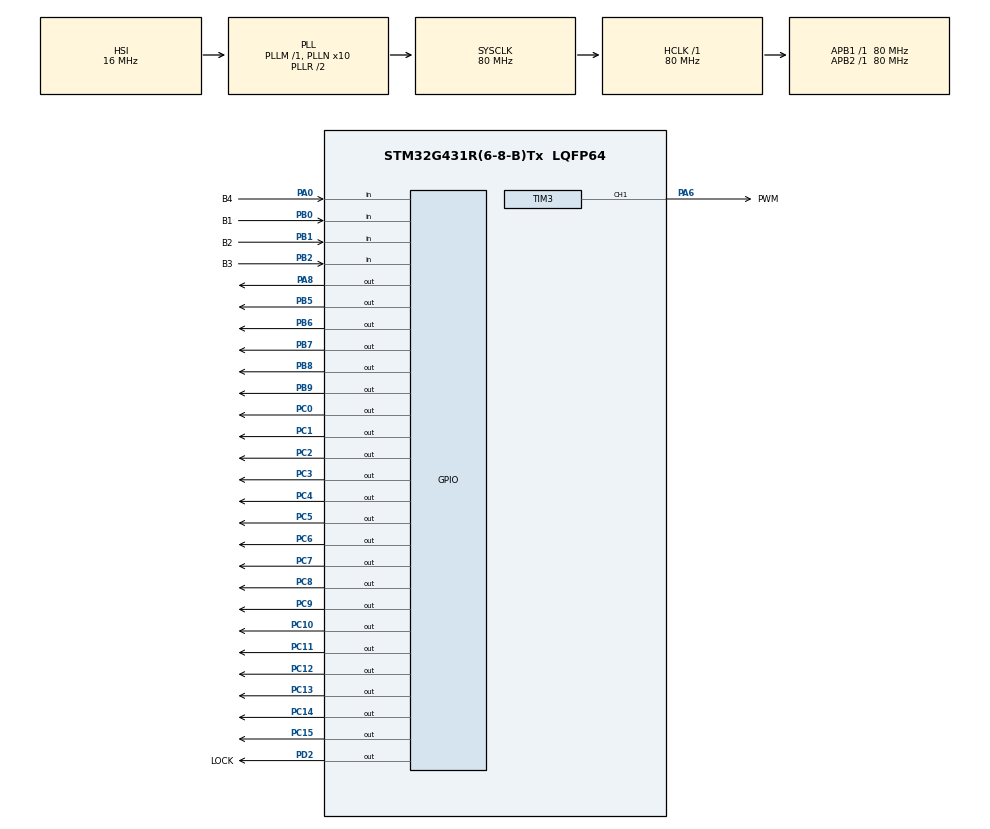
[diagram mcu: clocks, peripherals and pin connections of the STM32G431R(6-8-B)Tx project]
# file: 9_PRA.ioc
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Mcu.Family=STM32G4
Mcu.Name=STM32G431R(6-8-B)Tx
Mcu.Package=LQFP64
NVIC.PriorityGroup=NVIC_PRIORITYGROUP_4
NVIC.TIM1_UP_TIM16_IRQn=true\:0\:0\:false\:false\:true\:true\:true
PA0.GPIO_Label=B4
PA0.Signal=GPIO_Input
PA13.Mode=Serial_Wire
PA13.Signal=SYS_JTMS-SWDIO
PA14.Mode=Serial_Wire
PA14.Signal=SYS_JTCK-SWCLK
PA6.GPIO_Label=PWM
PA6.Signal=S_TIM3_CH1
PA8.Signal=GPIO_Output
PB0.GPIO_Label=B1
PB0.Signal=GPIO_Input
PB1.GPIO_Label=B2
PB1.Signal=GPIO_Input
PB2.GPIO_Label=B3
PB2.Signal=GPIO_Input
PB5.Signal=GPIO_Output
PB6.Signal=GPIO_Output
PB7.Signal=GPIO_Output
PB8-BOOT0.Signal=GPIO_Output
PB9.Signal=GPIO_Output
PC0.Signal=GPIO_Output
PC1.Signal=GPIO_Output
PC10.Signal=GPIO_Output
PC11.Signal=GPIO_Output
PC12.Signal=GPIO_Output
PC13.Signal=GPIO_Output
PC14-OSC32_IN.Signal=GPIO_Output
PC15-OSC32_OUT.Signal=GPIO_Output
PC2.Signal=GPIO_Output
PC3.Signal=GPIO_Output
PC4.Signal=GPIO_Output
PC5.Signal=GPIO_Output
PC6.Signal=GPIO_Output
PC7.Signal=GPIO_Output
PC8.Signal=GPIO_Output
PC9.Signal=GPIO_Output
PD2.GPIO_Label=LOCK
PD2.Signal=GPIO_Output
PF0-OSC_IN.Mode=HSE-External-Oscillator
PF0-OSC_IN.Signal=RCC_OSC_IN
PF1-OSC_OUT.Mode=HSE-External-Oscillator
PF1-OSC_OUT.Signal=RCC_OSC_OUT
ProjectManager.HeapSize=0x200
ProjectManager.StackSize=0x400
ProjectManager.TargetToolchain=MDK-ARM V5.27
RCC.ADC12Freq_Value=80000000
RCC.AHBFreq_Value=80000000
RCC.APB1Freq_Value=80000000
RCC.APB1TimFreq_Value=80000000
RCC.APB2Freq_Value=80000000
RCC.APB2TimFreq_Value=80000000
RCC.CortexFreq_Value=80000000
RCC.EXTERNAL_CLOCK_VALUE=12288000
RCC.HCLKFreq_Value=80000000
RCC.HSE_VALUE=8000000
RCC.HSI48_VALUE=48000000
RCC.HSI_VALUE=16000000
RCC.LSE_VALUE=32768
RCC.PLLN=10
RCC.SYSCLKFreq_VALUE=80000000
RCC.SYSCLKSource=RCC_SYSCLKSOURCE_PLLCLK
RCC.USBFreq_Value=80000000
RCC.VCOOutputFreq_Value=160000000
SH.S_TIM3_CH1.0=TIM3_CH1,PWM Generation1 CH1
TIM1.PeriodNoDither=999
TIM1.Prescaler=79
TIM3.Channel-PWM\ Generation1\ CH1=TIM_CHANNEL_1
TIM3.PeriodNoDither=1000-1
TIM3.Prescaler=80-1
VP_SYS_VS_DBSignals.Mode=DisableDeadBatterySignals
VP_TIM1_VS_ClockSourceINT.Mode=Internal
board=custom

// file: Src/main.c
/* USER CODE BEGIN Header */
/**
  ******************************************************************************
  * @file           : main.c
  * @brief          : Main program body
  ******************************************************************************
  * @attention
  *
  * <h2><center>&copy; Copyright (c) 2022 STMicroelectronics.
  * All rights reserved.</center></h2>
  *
  * This software component is licensed by ST under BSD 3-Clause license,
  * the "License"; You may not use this file except in compliance with the
  * License. You may obtain a copy of the License at:
  *                        opensource.org/licenses/BSD-3-Clause
  *
  ******************************************************************************
  */
/* USER CODE END Header */
#include "main.h"
#include "tim.h"
#include "gpio.h"

/* USER CODE BEGIN Includes */
#include "lcd.h"
#include "acan.h"
#include "stdio.h"
/* USER CODE END Includes */

/* USER CODE BEGIN PV */
//按键
int Key_Long[3] = {0};
int Key_Short[3] = {0};
int flag[3] = {0};
int Key_State[5] = {0};
int Key_Count[5] = {0};

//LCD
char buff1[50], buff2[50];
int Lcd_flag = 1;

//LED
int led_flag = 0;

//EEPROM
uint8_t ch = 0;

//中断

//时间
uint8_t hour[6] = {0}, min[6] = {0}, sec[6] = {0};
int P_flag = -1, Setting_flag = 0;
uint8_t Cur_position = 1;
int flag_save = 0;
int flag_change = 0;
int flag_work = 0;
int flag_state = 0;
/* USER CODE END PV */

void SystemClock_Config(void);
/* USER CODE BEGIN PFP */
void Key_Scan(void);//按键扫描及处理
void Lcd_Show(void);//显示基础信息（界面）
void Tim_save(void);//将时间储存到EEPROM中
void Tim_setting(void);//时间设定（高亮）
void Key_count(void);//按键计数
void TIME_init(void);//时间初始化（***只进行一次**）
void Time_State(void);//状态显示
void Tim_work(void);//定时器运行
/* USER CODE END PFP */

int main(void)
{

  /* MCU Configuration--------------------------------------------------------*/

  /* Reset of all peripherals, Initializes the Flash interface and the Systick. */
  HAL_Init();

  /* Configure the system clock */
  SystemClock_Config();

  /* Initialize all configured peripherals */
  MX_GPIO_Init();
  MX_TIM3_Init();
  MX_TIM1_Init();
  /* USER CODE BEGIN 2 */
	LCD_Init();
	LCD_Clear(Black);
	LCD_SetBackColor(Black);
	LCD_SetTextColor(White);
	Led_Off();
	TIME_init();//只进行一次
	HAL_TIM_Base_Start_IT(&htim1);
  /* USER CODE END 2 */

  /* Infinite loop */
  while (1)
  {

    /* USER CODE BEGIN 3 */
		Tim_save();
		Key_Scan();
		Lcd_Show();
		Time_State();
		if (flag_work != 1)
			Led_Off();
  }
  /* USER CODE END 3 */
}

void SystemClock_Config(void)
{
  RCC_OscInitTypeDef RCC_OscInitStruct = {0};
  RCC_ClkInitTypeDef RCC_ClkInitStruct = {0};

  /** Configure the main internal regulator output voltage
  */
  HAL_PWREx_ControlVoltageScaling(PWR_REGULATOR_VOLTAGE_SCALE1);
  /** Initializes the RCC Oscillators according to the specified parameters
  * in the RCC_OscInitTypeDef structure.
  */
  RCC_OscInitStruct.OscillatorType = RCC_OSCILLATORTYPE_HSI;
  RCC_OscInitStruct.HSIState = RCC_HSI_ON;
  RCC_OscInitStruct.HSICalibrationValue = RCC_HSICALIBRATION_DEFAULT;
  RCC_OscInitStruct.PLL.PLLState = RCC_PLL_ON;
  RCC_OscInitStruct.PLL.PLLSource = RCC_PLLSOURCE_HSI;
  RCC_OscInitStruct.PLL.PLLM = RCC_PLLM_DIV1;
  RCC_OscInitStruct.PLL.PLLN = 10;
  RCC_OscInitStruct.PLL.PLLP = RCC_PLLP_DIV2;
  RCC_OscInitStruct.PLL.PLLQ = RCC_PLLQ_DIV2;
  RCC_OscInitStruct.PLL.PLLR = RCC_PLLR_DIV2;
  if (HAL_RCC_OscConfig(&RCC_OscInitStruct) != HAL_OK)
  {
    Error_Handler();
  }
  /** Initializes the CPU, AHB and APB buses clocks
  */
  RCC_ClkInitStruct.ClockType = RCC_CLOCKTYPE_HCLK|RCC_CLOCKTYPE_SYSCLK
                              |RCC_CLOCKTYPE_PCLK1|RCC_CLOCKTYPE_PCLK2;
  RCC_ClkInitStruct.SYSCLKSource = RCC_SYSCLKSOURCE_PLLCLK;
  RCC_ClkInitStruct.AHBCLKDivider = RCC_SYSCLK_DIV1;
  RCC_ClkInitStruct.APB1CLKDivider = RCC_HCLK_DIV1;
  RCC_ClkInitStruct.APB2CLKDivider = RCC_HCLK_DIV1;

  if (HAL_RCC_ClockConfig(&RCC_ClkInitStruct, FLASH_LATENCY_2) != HAL_OK)
  {
    Error_Handler();
  }
}

/* USER CODE BEGIN 4 */
void HAL_TIM_PeriodElapsedCallback(TIM_HandleTypeDef *htim)
{
	static int i = 0, j = 0, k = 0, m = 0;
	i++;
	j++;
	m++;

	Key_count();

	if (m == 1000)
	{
		Tim_work();
		m = 0;
	}
	if (i == 400)
	{
		i = 0;
		Tim_setting();
	}

	if (j == 400)
	{
		//按键三长按
		if (Key_Count[3] > 1000)
		{
			if (P_flag == 0)
					{
						hour[Cur_position - 1]++;
						if (hour[Cur_position - 1] > 12)
							hour[Cur_position - 1] = 0;
					}
					else if (P_flag == 1)
					{
						min[Cur_position - 1]++;
						if (min[Cur_position - 1] > 60)
							min[Cur_position - 1] = 0;
					}
					else if (P_flag == 2)
					{
						sec[Cur_position - 1]++;
						if (sec[Cur_position - 1] > 60)
							sec[Cur_position - 1] = 0;
					}
		}
		j = 0;
	}
	if (flag_work == 1)
	{
		k++;
		if (k == 500)
		{
			if (led_flag == 0)
			{
				Led_bytes(0x01ff);
				led_flag = 1;
			}
			else if (led_flag == 1)
			{
				Led_bytes(0x00ff);
				led_flag = 0;
			}
			k = 0;
		}
	}
}

void Key_count(void)
{
	if (Key_State[1] != 0)
	{
		Key_Count[1]++;
	}
	if (Key_State[2] != 0)
	{
		Key_Count[2]++;
	}
	if (Key_State[3] != 0)
	{
		Key_Count[3]++;
	}
	if (Key_State[4] != 0)
	{
		Key_Count[4]++;
	}
}

void Key_Scan(void)
{

	//按键二
	if (HAL_GPIO_ReadPin(B2_GPIO_Port, B2_Pin) == GPIO_PIN_RESET)
	{
		//消抖
		HAL_Delay(120);
			if (HAL_GPIO_ReadPin(B2_GPIO_Port, B2_Pin) == GPIO_PIN_RESET)
			{
				Key_State[2] = 1;
				while(HAL_GPIO_ReadPin(B2_GPIO_Port, B2_Pin) == GPIO_PIN_RESET);
				Key_State[2] = 0;
				//长按
				if (Key_Count[2] > 700)
				{
					flag_save = 1;
					Setting_flag = 0;
					flag_state = 0;
					Lcd_flag = Cur_position;
					P_flag = -1;
				}
				//短按
				else
				{
					Lcd_flag = 0;
					Setting_flag = 1;
					flag_state = 1;
					P_flag++;
					if (P_flag > 2)
					P_flag = 0;
				}
			Key_Count[2] = 0;
			}
		}
	//按键三
	if (HAL_GPIO_ReadPin(B3_GPIO_Port, B3_Pin) == GPIO_PIN_RESET)
	{
		//消抖
		HAL_Delay(120);
			if (HAL_GPIO_ReadPin(B3_GPIO_Port, B3_Pin) == GPIO_PIN_RESET)
			{
				Key_State[3] = 1;
				while(HAL_GPIO_ReadPin(B3_GPIO_Port, B3_Pin) == GPIO_PIN_RESET);
				Key_State[3] = 0;
				//长按
				if (Key_Count[3] > 700)
				{

				}
				//短按
				else
				{
					if (P_flag == 0)
					{
						hour[Cur_position - 1]++;
						if (hour[Cur_position - 1] > 12)
							hour[Cur_position - 1] = 0;
					}
					else if (P_flag == 1)
					{
						min[Cur_position - 1]++;
						if (min[Cur_position - 1] > 60)
							min[Cur_position - 1] = 0;
					}
					else if (P_flag == 2)
					{
						sec[Cur_position - 1]++;
						if (sec[Cur_position - 1] > 60)
							sec[Cur_position - 1] = 0;
					}
				}
			Key_Count[3] = 0;
			}
		}
	//按键四
	if (HAL_GPIO_ReadPin(B4_GPIO_Port, B4_Pin) == GPIO_PIN_RESET)
	{
		//消抖
		HAL_Delay(120);
			if (HAL_GPIO_ReadPin(B4_GPIO_Port, B4_Pin) == GPIO_PIN_RESET)
			{
				Key_State[4] = 1;
				while(HAL_GPIO_ReadPin(B4_GPIO_Port, B4_Pin) == GPIO_PIN_RESET);
				Key_State[4] = 0;
				//长按
				if (Key_Count[4] > 700)
				{
					flag_work = 0;
					flag_state = 0;
				}
				//短按
				else
				{
					flag_work++;
					if (flag_work > 2)
						flag_work = 1;
				}
			Key_Count[4] = 0;
			}
		}
	//按键一
	if (HAL_GPIO_ReadPin(B1_GPIO_Port, B1_Pin) == GPIO_PIN_RESET)
	{
		//消抖
		HAL_Delay(120);
			if (HAL_GPIO_ReadPin(B1_GPIO_Port, B1_Pin) == GPIO_PIN_RESET)
			{
				Key_State[1] = 1;
				while(HAL_GPIO_ReadPin(B1_GPIO_Port, B1_Pin) == GPIO_PIN_RESET);
				Key_State[1] = 0;
				//长按
				if (Key_Count[1] > 700)
				{

				}
				//短按
				else
				{
					Lcd_flag++;
					if (Lcd_flag > 5)
						Lcd_flag = 1;
				}
			Key_Count[1] = 0;
			}
		}

}

void Tim_work(void)
{
	if (flag_work == 1)
	{
		flag_state = 2;
		HAL_TIM_PWM_Start(&htim3, TIM_CHANNEL_1);
		__HAL_TIM_SetCompare(&htim3, TIM_CHANNEL_1, 800);
		if (sec[Cur_position - 1] > 0)
		{
			sec[Cur_position - 1]--;
		}
		else if (min[Cur_position - 1] > 0)
		{
			sec[Cur_position - 1] = 60;
			min[Cur_position - 1]--;
		}
		else if (hour[Cur_position - 1] > 0)
		{
			min[Cur_position - 1] = 60;
			hour[Cur_position - 1]--;
		}
	}
	else if (flag_work == 2)
	{
		flag_state = 3;
		__HAL_TIM_SetCompare(&htim3, TIM_CHANNEL_1, 0);
	}
}

void Tim_setting(void)
{
	int i = 0;

	if (Setting_flag == 1)
	{
		if (P_flag == 0)
		{
			//高亮 “时”
			sprintf(buff2, "    %02d: %02d: %02d", hour[Cur_position - 1], min[Cur_position - 1], sec[Cur_position - 1]);//6空白
			for (; i < 4; i++)
			{
				LCD_DisplayChar(Line4, 320 - (16 * i), buff2[i]);
			}
			LCD_SetBackColor(Yellow);
			LCD_SetTextColor(Black);
			for (i = 4; i < 6; i++)
			{
				LCD_DisplayChar(Line4, 320 - (16 * i), buff2[i]);
			}
			LCD_SetBackColor(Black);
			LCD_SetTextColor(White);
			for (i = 6; i < 14; i++)
			{
				LCD_DisplayChar(Line4, 320 - (16 * i), buff2[i]);
			}
		}
		else if (P_flag == 1)
		{
			//高亮“分”
			sprintf(buff2, "    %02d: %02d: %02d", hour[Cur_position - 1], min[Cur_position - 1], sec[Cur_position - 1]);//6空白
			for (; i < 8; i++)
			{
				LCD_DisplayChar(Line4, 320 - (16 * i), buff2[i]);
			}
			LCD_SetBackColor(Yellow);
			LCD_SetTextColor(Black);
			for (i = 8; i < 10; i++)
			{
				LCD_DisplayChar(Line4, 320 - (16 * i), buff2[i]);
			}
			LCD_SetBackColor(Black);
			LCD_SetTextColor(White);
			for (i = 10; i < 14; i++)
			{
				LCD_DisplayChar(Line4, 320 - (16 * i), buff2[i]);
			}
		}
		else if (P_flag == 2)
		{
			//高亮“秒”
			sprintf(buff2, "    %02d: %02d: %02d", hour[Cur_position - 1], min[Cur_position - 1], sec[Cur_position - 1]);//6空白
			for (; i < 12; i++)
			{
				LCD_DisplayChar(Line4, 320 - (16 * i), buff2[i]);
			}
			LCD_SetBackColor(Yellow);
			LCD_SetTextColor(Black);
			for (i = 12; i < 14; i++)
			{
				LCD_DisplayChar(Line4, 320 - (16 * i), buff2[i]);
			}
			LCD_SetBackColor(Black);
			LCD_SetTextColor(White);
		}
	}
}

void Lcd_Show(void)
{
	if (Lcd_flag == 1)
	{
		Cur_position = Lcd_flag;
		//显示储存位置1
		sprintf(buff1, "    %02d: %02d: %02d  ", hour[Cur_position - 1], min[Cur_position - 1], sec[Cur_position - 1]);//6空白
		LCD_DisplayStringLine(Line4, (u8 *)buff1);
		sprintf(buff1, "  No %d", Lcd_flag);
		LCD_DisplayStringLine(Line2, (u8 *)buff1);
	}
	else if (Lcd_flag == 2)
	{
		Cur_position = Lcd_flag;
		//显示储存位置2
		sprintf(buff1, "    %02d: %02d: %02d  ", hour[Cur_position - 1], min[Cur_position - 1], sec[Cur_position - 1]);//6空白
		LCD_DisplayStringLine(Line4, (u8 *)buff1);
		sprintf(buff1, "  No %d", Lcd_flag);
		LCD_DisplayStringLine(Line2, (u8 *)buff1);
	}
	else if (Lcd_flag == 3)
	{
		Cur_position = Lcd_flag;
		//显示储存位置3
		sprintf(buff1, "    %02d: %02d: %02d  ", hour[Cur_position - 1], min[Cur_position - 1], sec[Cur_position - 1]);//6空白
		LCD_DisplayStringLine(Line4, (u8 *)buff1);
		sprintf(buff1, "  No %d", Lcd_flag);
		LCD_DisplayStringLine(Line2, (u8 *)buff1);
	}
	else if (Lcd_flag == 4)
	{
		Cur_position = Lcd_flag;
		//显示储存位置4
		sprintf(buff1, "    %02d: %02d: %02d  ", hour[Cur_position - 1], min[Cur_position - 1], sec[Cur_position - 1]);//6空白
		LCD_DisplayStringLine(Line4, (u8 *)buff1);
		sprintf(buff1, "  No %d", Lcd_flag);
		LCD_DisplayStringLine(Line2, (u8 *)buff1);
	}
	else if (Lcd_flag == 5)
	{
		Cur_position = Lcd_flag;
		//显示储存位置5
		sprintf(buff1, "    %02d: %02d: %02d  ", hour[Cur_position - 1], min[Cur_position - 1], sec[Cur_position - 1]);//6空白
		LCD_DisplayStringLine(Line4, (u8 *)buff1);
		sprintf(buff1, "  No %d", Lcd_flag);
		LCD_DisplayStringLine(Line2, (u8 *)buff1);
	}

}
void Tim_save(void)
{
	if (flag_save == 1)
	{
		EE_Write((Cur_position - 1) * 3, hour[Cur_position - 1]);
		HAL_Delay(5);
		EE_Write((Cur_position - 1) * 3 + 1, min[Cur_position - 1]);
		HAL_Delay(5);
		EE_Write((Cur_position - 1) * 3 + 2, sec[Cur_position - 1]);
		HAL_Delay(5);
		flag_save = 0;
	}
}
void Time_State(void)
{
	if (flag_state == 0)
	{
		sprintf(buff1, "      Standby     ");
		LCD_DisplayStringLine(Line8, (u8 *)buff1);
	}
	else if (flag_state == 1)
	{
		sprintf(buff1, "      Setting     ");
		LCD_DisplayStringLine(Line8, (u8 *)buff1);
	}
	else if (flag_state == 2)
	{
		sprintf(buff1, "      Running     ");
		LCD_DisplayStringLine(Line8, (u8 *)buff1);
	}
	else if (flag_state == 3)
	{
		sprintf(buff1, "      Pause     ");
		LCD_DisplayStringLine(Line8, (u8 *)buff1);
	}
}

void TIME_init(void)
{
	if (EE_Read(15) != 255)
	{
		HAL_Delay(5);
		Cur_position = 1;
		hour[Cur_position - 1] = EE_Read((Cur_position - 1) * 3);
		HAL_Delay(5);
		min[Cur_position - 1] = EE_Read((Cur_position - 1) * 3 + 1);
		HAL_Delay(5);
		sec[Cur_position - 1] = EE_Read((Cur_position - 1) * 3 + 2);
		HAL_Delay(5);

		Cur_position = 2;
		hour[Cur_position - 1] = EE_Read((Cur_position - 1) * 3);
		HAL_Delay(5);
		min[Cur_position - 1] = EE_Read((Cur_position - 1) * 3 + 1);
		HAL_Delay(5);
		sec[Cur_position - 1] = EE_Read((Cur_position - 1) * 3 + 2);
		HAL_Delay(5);

		Cur_position = 3;
		hour[Cur_position - 1] = EE_Read((Cur_position - 1) * 3);
		HAL_Delay(5);
		min[Cur_position - 1] = EE_Read((Cur_position - 1) * 3 + 1);
		HAL_Delay(5);
		sec[Cur_position - 1] = EE_Read((Cur_position - 1) * 3 + 2);
		HAL_Delay(5);

		Cur_position = 4;
		hour[Cur_position - 1] = EE_Read((Cur_position - 1) * 3);
		HAL_Delay(5);
		min[Cur_position - 1] = EE_Read((Cur_position - 1) * 3 + 1);
		HAL_Delay(5);
		sec[Cur_position - 1] = EE_Read((Cur_position - 1) * 3 + 2);
		HAL_Delay(5);

		Cur_position = 5;
		hour[Cur_position - 1] = EE_Read((Cur_position - 1) * 3);
		HAL_Delay(5);
		min[Cur_position - 1] = EE_Read((Cur_position - 1) * 3 + 1);
		HAL_Delay(5);
		sec[Cur_position - 1] = EE_Read((Cur_position - 1) * 3 + 2);
		HAL_Delay(5);

		Cur_position = 1;
	}

	else
	{
		HAL_Delay(5);
		for (uint8_t i = 0; i < 15; i++)
		{
			EE_Write(i, 0);
			HAL_Delay(5);
		}
		EE_Write(15, 0);
		HAL_Delay(5);
	}

}

/* USER CODE END 4 */

void Error_Handler(void)
{
  __disable_irq();
  while (1)
  {
  }
}

/************************ (C) COPYRIGHT STMicroelectronics *****END OF FILE****/
